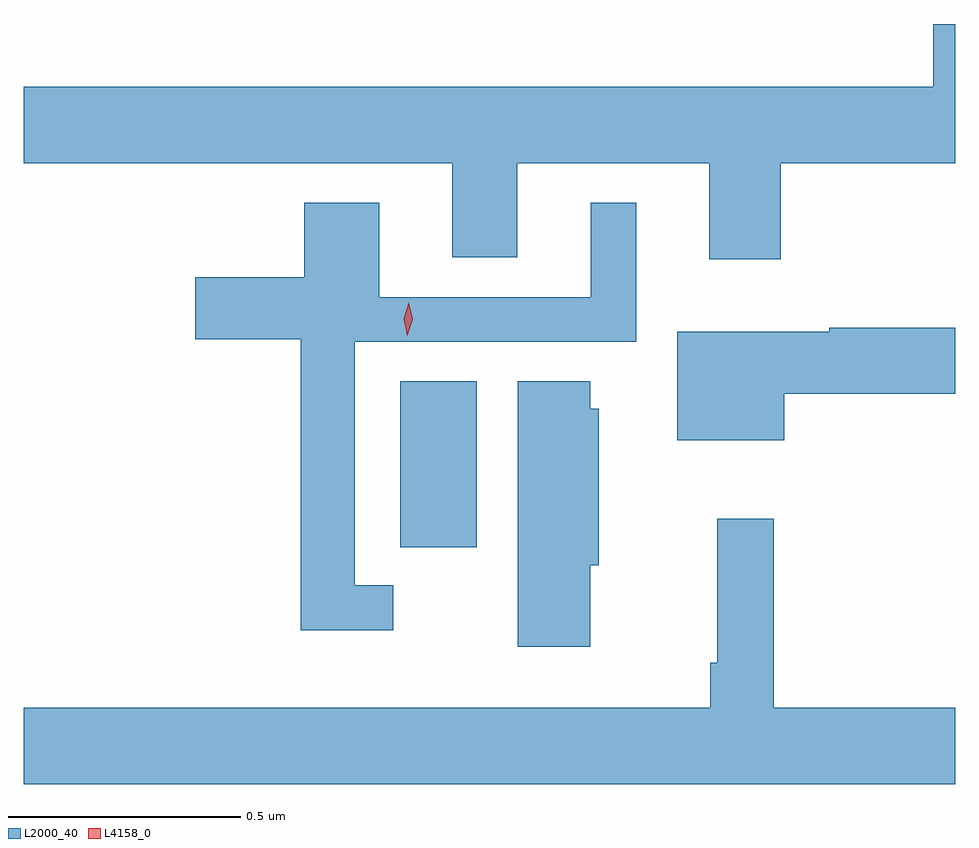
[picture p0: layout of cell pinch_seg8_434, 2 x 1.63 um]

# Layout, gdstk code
import gdstk
lib = gdstk.Library(unit=1e-6, precision=1e-09)
def R(c, l, rs):  # rectangles x0, y0, x1, y1
    for r in rs: c.add(gdstk.rectangle(r[:2], r[2:], *l))
def P(c, l, *ps):  # polygons
    for p in ps: c.add(gdstk.Polygon(p, *l))
L2000_40 = (2000, 40)
L4158_0 = (4158, 0)

pinch_seg8_434 = lib.new_cell('pinch_seg8_434')
R(pinch_seg8_434, L2000_40, [(276.332,1127.664,276.496,1128.02)])
P(pinch_seg8_434, L2000_40, [(277.148,1128.488),(277.523,1128.488),(277.523,1128.787),(277.475,1128.787),(277.475,1128.652),(275.523,1128.652),(275.523,1128.488),(276.443,1128.488),(276.443,1128.286),(276.583,1128.286),(276.583,1128.488),(276.995,1128.488),(276.995,1128.282),(277.148,1128.282)],
  [(276.316,1127.583),(276.234,1127.583),(276.234,1128.105),(276.838,1128.105),(276.838,1128.403),(276.74,1128.403),(276.74,1128.201),(276.286,1128.201),(276.286,1128.403),(276.125,1128.403),(276.125,1128.244),(275.892,1128.244),(275.892,1128.11),(276.118,1128.11),(276.118,1127.486),(276.316,1127.486)],
  [(277.156,1127.993),(277.523,1127.993),(277.523,1128.135),(277.252,1128.135),(277.252,1128.127),(276.926,1128.127),(276.926,1127.894),(277.156,1127.894)],
  [(276.739,1127.625),(276.757,1127.625),(276.757,1127.961),(276.739,1127.961),(276.739,1128.02),(276.584,1128.02),(276.584,1127.451),(276.739,1127.451)],
  [(277.523,1127.32),(277.133,1127.32),(277.133,1127.725),(277.012,1127.725),(277.012,1127.416),(276.997,1127.416),(276.997,1127.32),(275.523,1127.32),(275.523,1127.156),(277.523,1127.156)])
P(pinch_seg8_434, L4158_0, [(276.347,1128.117),(276.347,1128.118),(276.339,1128.154),(276.35,1128.189),(276.35,1128.19),(276.35,1128.189),(276.358,1128.153),(276.347,1128.118)])

lib.write_gds('pinch_seg8_434.gds')
